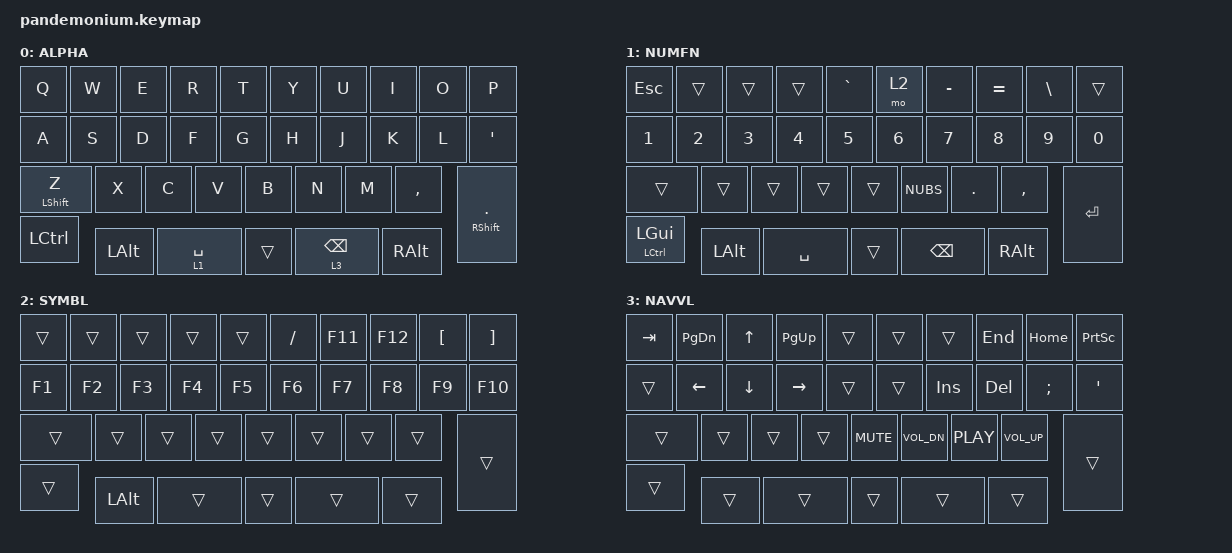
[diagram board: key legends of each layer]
/*
 * Copyright (c) 2020 The ZMK Contributors
 *
 * SPDX-License-Identifier: MIT
 */

#include <behaviors.dtsi>
#include <dt-bindings/zmk/keys.h>
#include <dt-bindings/zmk/bt.h>

/ {
    behaviors {
        hm: homerow_mods {
            compatible = "zmk,behavior-hold-tap";
            display-name = "homerow mods";
            #binding-cells = <2>;
            tapping-term-ms = <225>;
            flavor = "tap-preferred";
            bindings = <&kp>, <&kp>;
        };
    };

    keymap {
        compatible = "zmk,keymap";

        ALPHA {
            bindings = <
    &kp Q      &kp W       &kp E         &kp R        &kp T        &kp Y     &kp U         &kp I         &kp O       &kp P
    &kp A    &kp S  &kp D  &kp F  &kp G        &kp H     &kp J  &kp K  &kp L  &kp  APOS
    &mt LSHIFT Z      &kp X       &kp C         &kp V        &kp B        &kp N     &kp M         &kp COMMA     &mt RSHIFT DOT
    &kp LCTRL  &kp LALT    &lt 1 SPACE    &trans      &lt 3 BSPC  &kp RALT
            >;
        };

        NUMFN {
            bindings = <
    &kp ESC     &trans    &trans    &trans    &kp GRAVE     &mo 2    &kp MINUS           &kp EQUAL        &kp BSLH         &trans
    &kp N1     &kp N2    &kp N3    &kp N4    &kp N5     &kp N6    &kp N7           &kp N8   &kp N9      &kp N0
    &trans     &trans    &trans    &trans   &trans    &kp NUBS   &kp DOT  &kp COMMA  &kp RETURN
    &mt LCTRL LGUI  &kp LALT  &kp SPACE  &trans  &kp BSPC  &kp RALT
            >;
        };

        SYMBL {
            bindings = <
    &trans  &trans  &trans   &trans  &trans  &kp FSLH  &kp F11     &kp F12     &kp LBKT       &kp RBKT
    &kp F1  &kp F2   &kp F3  &kp F4    &kp F5     &kp F6  &kp F7  &kp F8  &kp F9    &kp F10
    &trans    &trans   &trans  &trans    &trans     &trans    &trans       &trans       &trans
    &trans    &kp LALT   &trans  &trans  &trans     &trans
            >;
        };

        NAVVL {
            bindings = <
    &kp TAB    &kp PG_DN    &kp UP     &kp PG_UP   &trans  &trans      &trans     &kp END        &kp HOME  &kp PSCRN
    &trans  &kp LEFT  &kp DOWN  &kp RIGHT   &trans  &trans    &kp INS     &kp DEL       &kp SEMI   &kp APOS
    &trans    &trans    &trans     &trans   &kp C_MUTE  &kp C_VOL_DN  &kp C_PLAY  &kp C_VOL_UP  &trans
    &trans    &trans    &trans    &trans  &trans  &trans
            >;
        };
    };
};
